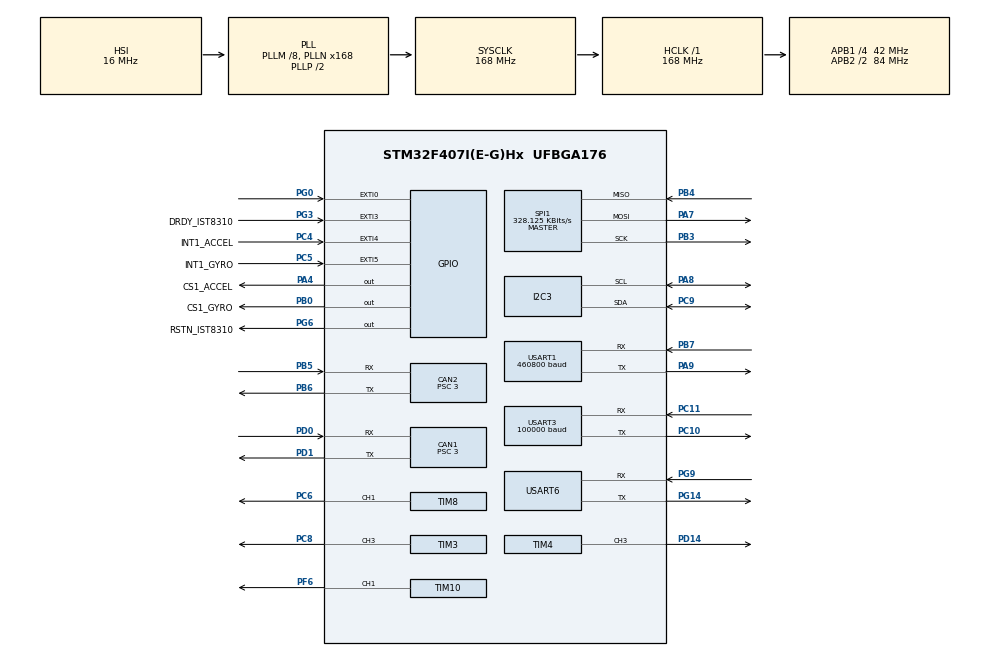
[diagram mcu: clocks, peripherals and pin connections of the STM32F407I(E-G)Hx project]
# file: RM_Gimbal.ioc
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CAN1.BS1=CAN_BS1_10TQ
CAN1.BS2=CAN_BS2_3TQ
CAN1.CalculateBaudRate=1000000
CAN1.CalculateTimeBit=1000
CAN1.CalculateTimeQuantum=71.42857142857143
CAN1.Prescaler=3
CAN2.BS1=CAN_BS1_10TQ
CAN2.BS2=CAN_BS2_3TQ
CAN2.CalculateBaudRate=1000000
CAN2.CalculateTimeBit=1000
CAN2.CalculateTimeQuantum=71.42857142857143
CAN2.Prescaler=3
Dma.Request0=USART3_RX
Dma.Request1=USART1_TX
Dma.Request2=SPI1_RX
Dma.Request3=SPI1_TX
Dma.Request4=USART6_TX
Dma.Request5=USART1_RX
Dma.Request6=USART6_RX
Dma.SPI1_RX.2.Direction=DMA_PERIPH_TO_MEMORY
Dma.SPI1_RX.2.FIFOMode=DMA_FIFOMODE_DISABLE
Dma.SPI1_RX.2.Instance=DMA2_Stream2
Dma.SPI1_RX.2.MemDataAlignment=DMA_MDATAALIGN_BYTE
Dma.SPI1_RX.2.MemInc=DMA_MINC_ENABLE
Dma.SPI1_RX.2.Mode=DMA_NORMAL
Dma.SPI1_RX.2.PeriphDataAlignment=DMA_PDATAALIGN_BYTE
Dma.SPI1_RX.2.PeriphInc=DMA_PINC_DISABLE
Dma.SPI1_RX.2.Priority=DMA_PRIORITY_VERY_HIGH
Dma.SPI1_TX.3.Direction=DMA_MEMORY_TO_PERIPH
Dma.SPI1_TX.3.FIFOMode=DMA_FIFOMODE_DISABLE
Dma.SPI1_TX.3.Instance=DMA2_Stream3
Dma.SPI1_TX.3.MemDataAlignment=DMA_MDATAALIGN_BYTE
Dma.SPI1_TX.3.MemInc=DMA_MINC_ENABLE
Dma.SPI1_TX.3.Mode=DMA_NORMAL
Dma.SPI1_TX.3.PeriphDataAlignment=DMA_PDATAALIGN_BYTE
Dma.SPI1_TX.3.PeriphInc=DMA_PINC_DISABLE
Dma.SPI1_TX.3.Priority=DMA_PRIORITY_HIGH
Dma.USART1_RX.5.Direction=DMA_PERIPH_TO_MEMORY
Dma.USART1_RX.5.FIFOMode=DMA_FIFOMODE_DISABLE
Dma.USART1_RX.5.Instance=DMA2_Stream5
Dma.USART1_RX.5.MemDataAlignment=DMA_MDATAALIGN_BYTE
Dma.USART1_RX.5.MemInc=DMA_MINC_ENABLE
Dma.USART1_RX.5.Mode=DMA_CIRCULAR
Dma.USART1_RX.5.PeriphDataAlignment=DMA_PDATAALIGN_BYTE
Dma.USART1_RX.5.PeriphInc=DMA_PINC_DISABLE
Dma.USART1_RX.5.Priority=DMA_PRIORITY_VERY_HIGH
Dma.USART1_TX.1.Direction=DMA_MEMORY_TO_PERIPH
Dma.USART1_TX.1.FIFOMode=DMA_FIFOMODE_DISABLE
Dma.USART1_TX.1.Instance=DMA2_Stream7
Dma.USART1_TX.1.MemDataAlignment=DMA_MDATAALIGN_BYTE
Dma.USART1_TX.1.MemInc=DMA_MINC_ENABLE
Dma.USART1_TX.1.Mode=DMA_NORMAL
Dma.USART1_TX.1.PeriphDataAlignment=DMA_PDATAALIGN_BYTE
Dma.USART1_TX.1.PeriphInc=DMA_PINC_DISABLE
Dma.USART1_TX.1.Priority=DMA_PRIORITY_VERY_HIGH
Dma.USART3_RX.0.Direction=DMA_PERIPH_TO_MEMORY
Dma.USART3_RX.0.FIFOMode=DMA_FIFOMODE_DISABLE
Dma.USART3_RX.0.Instance=DMA1_Stream1
Dma.USART3_RX.0.MemDataAlignment=DMA_MDATAALIGN_BYTE
Dma.USART3_RX.0.MemInc=DMA_MINC_ENABLE
Dma.USART3_RX.0.Mode=DMA_CIRCULAR
Dma.USART3_RX.0.PeriphDataAlignment=DMA_PDATAALIGN_BYTE
Dma.USART3_RX.0.PeriphInc=DMA_PINC_DISABLE
Dma.USART3_RX.0.Priority=DMA_PRIORITY_VERY_HIGH
Dma.USART6_RX.6.Direction=DMA_PERIPH_TO_MEMORY
Dma.USART6_RX.6.FIFOMode=DMA_FIFOMODE_DISABLE
Dma.USART6_RX.6.Instance=DMA2_Stream1
Dma.USART6_RX.6.MemDataAlignment=DMA_MDATAALIGN_BYTE
Dma.USART6_RX.6.MemInc=DMA_MINC_ENABLE
Dma.USART6_RX.6.Mode=DMA_NORMAL
Dma.USART6_RX.6.PeriphDataAlignment=DMA_PDATAALIGN_BYTE
Dma.USART6_RX.6.PeriphInc=DMA_PINC_DISABLE
Dma.USART6_RX.6.Priority=DMA_PRIORITY_VERY_HIGH
Dma.USART6_TX.4.Direction=DMA_MEMORY_TO_PERIPH
Dma.USART6_TX.4.FIFOMode=DMA_FIFOMODE_DISABLE
Dma.USART6_TX.4.Instance=DMA2_Stream6
Dma.USART6_TX.4.MemDataAlignment=DMA_MDATAALIGN_BYTE
Dma.USART6_TX.4.MemInc=DMA_MINC_ENABLE
Dma.USART6_TX.4.Mode=DMA_NORMAL
Dma.USART6_TX.4.PeriphDataAlignment=DMA_PDATAALIGN_BYTE
Dma.USART6_TX.4.PeriphInc=DMA_PINC_DISABLE
Dma.USART6_TX.4.Priority=DMA_PRIORITY_VERY_HIGH
FREERTOS.INCLUDE_eTaskGetState=1
FREERTOS.INCLUDE_pcTaskGetTaskName=1
FREERTOS.INCLUDE_uxTaskGetStackHighWaterMark=1
FREERTOS.INCLUDE_vTaskCleanUpResources=1
FREERTOS.INCLUDE_vTaskDelayUntil=1
FREERTOS.INCLUDE_xQueueGetMutexHolder=1
FREERTOS.INCLUDE_xSemaphoreGetMutexHolder=1
FREERTOS.INCLUDE_xTaskAbortDelay=1
FREERTOS.INCLUDE_xTaskGetCurrentTaskHandle=1
FREERTOS.INCLUDE_xTaskGetHandle=1
FREERTOS.Tasks01=test,0,128,test_task,As weak,NULL,Dynamic,NULL,NULL;gimbalTask,2,512,gimbal_task,As weak,NULL,Dynamic,NULL,NULL;imuTask,3,1024,ins_task,As weak,NULL,Dynamic,NULL,NULL;VOFATask,0,128,VOFA_task,As weak,NULL,Dynamic,NULL,NULL;pcTask,0,256,pc_task,As weak,NULL,Dynamic,NULL,NULL
I2C3.I2C_Mode=I2C_Fast
Mcu.Family=STM32F4
Mcu.Name=STM32F407I(E-G)Hx
Mcu.Package=UFBGA176
NVIC.CAN1_RX0_IRQn=true\:5\:0\:false\:false\:true\:true\:true\:true\:true
NVIC.CAN2_RX0_IRQn=true\:5\:0\:false\:false\:true\:true\:true\:true\:true
NVIC.DMA1_Stream1_IRQn=true\:5\:0\:false\:false\:true\:true\:false\:true\:true
NVIC.DMA2_Stream1_IRQn=true\:5\:0\:false\:false\:true\:true\:false\:true\:true
NVIC.DMA2_Stream2_IRQn=true\:5\:0\:false\:false\:true\:false\:false\:true\:true
NVIC.DMA2_Stream3_IRQn=true\:5\:0\:false\:false\:true\:true\:false\:true\:true
NVIC.DMA2_Stream5_IRQn=true\:5\:0\:false\:false\:true\:true\:false\:true\:true
NVIC.DMA2_Stream6_IRQn=true\:5\:0\:false\:false\:true\:true\:false\:true\:true
NVIC.DMA2_Stream7_IRQn=true\:5\:0\:false\:false\:true\:true\:false\:true\:true
NVIC.EXTI0_IRQn=true\:5\:0\:false\:false\:true\:true\:true\:true\:true
NVIC.EXTI3_IRQn=true\:5\:0\:false\:false\:true\:true\:true\:true\:true
NVIC.EXTI4_IRQn=true\:5\:0\:false\:false\:true\:true\:true\:true\:true
NVIC.EXTI9_5_IRQn=true\:5\:0\:false\:false\:true\:true\:true\:true\:true
NVIC.PriorityGroup=NVIC_PRIORITYGROUP_4
NVIC.TIM7_IRQn=true\:15\:0\:false\:false\:true\:false\:false\:true\:true
NVIC.TimeBase=TIM7_IRQn
NVIC.TimeBaseIP=TIM7
NVIC.USART1_IRQn=true\:5\:0\:false\:false\:true\:true\:true\:true\:true
NVIC.USART3_IRQn=true\:5\:0\:false\:false\:true\:true\:true\:true\:true
NVIC.USART6_IRQn=true\:5\:0\:false\:false\:true\:true\:true\:true\:true
PA13.Mode=Serial_Wire
PA13.Signal=SYS_JTMS-SWDIO
PA14.Mode=Serial_Wire
PA14.Signal=SYS_JTCK-SWCLK
PA4.GPIO_Label=CS1_ACCEL
PA4.GPIO_PuPd=GPIO_PULLUP
PA4.GPIO_Speed=GPIO_SPEED_FREQ_HIGH
PA4.PinState=GPIO_PIN_SET
PA4.Signal=GPIO_Output
PA7.Mode=Full_Duplex_Master
PA7.Signal=SPI1_MOSI
PA8.Mode=I2C
PA8.Signal=I2C3_SCL
PA9.Mode=Asynchronous
PA9.Signal=USART1_TX
PB0.GPIO_Label=CS1_GYRO
PB0.GPIO_PuPd=GPIO_PULLUP
PB0.GPIO_Speed=GPIO_SPEED_FREQ_HIGH
PB0.PinState=GPIO_PIN_SET
PB0.Signal=GPIO_Output
PB3.Mode=Full_Duplex_Master
PB3.Signal=SPI1_SCK
PB4.Mode=Full_Duplex_Master
PB4.Signal=SPI1_MISO
PB5.Mode=CAN_Activate
PB5.Signal=CAN2_RX
PB6.Mode=CAN_Activate
PB6.Signal=CAN2_TX
PB7.Mode=Asynchronous
PB7.Signal=USART1_RX
PC10.Mode=Asynchronous
PC10.Signal=USART3_TX
PC11.Mode=Asynchronous
PC11.Signal=USART3_RX
PC4.GPIO_Label=INT1_ACCEL
PC4.GPIO_ModeDefaultEXTI=GPIO_MODE_IT_FALLING
PC4.GPIO_PuPd=GPIO_PULLUP
PC4.Signal=GPXTI4
PC5.GPIO_Label=INT1_GYRO
PC5.GPIO_ModeDefaultEXTI=GPIO_MODE_IT_FALLING
PC5.GPIO_PuPd=GPIO_PULLUP
PC5.Signal=GPXTI5
PC6.GPIO_PuPd=GPIO_PULLUP
PC6.GPIO_Speed=GPIO_SPEED_FREQ_HIGH
PC6.Signal=S_TIM8_CH1
PC8.GPIO_PuPd=GPIO_PULLUP
PC8.GPIO_Speed=GPIO_SPEED_FREQ_HIGH
PC8.Signal=S_TIM3_CH3
PC9.Mode=I2C
PC9.Signal=I2C3_SDA
PD0.Mode=CAN_Activate
PD0.Signal=CAN1_RX
PD1.Mode=CAN_Activate
PD1.Signal=CAN1_TX
PD14.GPIO_Speed=GPIO_SPEED_FREQ_HIGH
PD14.Signal=S_TIM4_CH3
PF6.GPIO_PuPd=GPIO_PULLUP
PF6.GPIO_Speed=GPIO_SPEED_FREQ_HIGH
PF6.Signal=S_TIM10_CH1
PG0.GPIO_ModeDefaultEXTI=GPIO_MODE_IT_FALLING
PG0.GPIO_PuPd=GPIO_PULLUP
PG0.Signal=GPXTI0
PG14.Mode=Asynchronous
PG14.Signal=USART6_TX
PG3.GPIO_Label=DRDY_IST8310
PG3.GPIO_ModeDefaultEXTI=GPIO_MODE_IT_FALLING
PG3.GPIO_PuPd=GPIO_PULLUP
PG3.Signal=GPXTI3
PG6.GPIO_Label=RSTN_IST8310
PG6.GPIO_PuPd=GPIO_PULLUP
PG6.GPIO_Speed=GPIO_SPEED_FREQ_MEDIUM
PG6.PinState=GPIO_PIN_SET
PG6.Signal=GPIO_Output
PG9.Mode=Asynchronous
PG9.Signal=USART6_RX
PH0-OSC_IN.Mode=HSE-External-Oscillator
PH0-OSC_IN.Signal=RCC_OSC_IN
PH1-OSC_OUT.Mode=HSE-External-Oscillator
PH1-OSC_OUT.Signal=RCC_OSC_OUT
ProjectManager.HeapSize=0x3000
ProjectManager.StackSize=0x3500
ProjectManager.TargetToolchain=MDK-ARM V5.32
RCC.48MHZClocksFreq_Value=84000000
RCC.AHBFreq_Value=168000000
RCC.APB1CLKDivider=RCC_HCLK_DIV4
RCC.APB1Freq_Value=42000000
RCC.APB1TimFreq_Value=84000000
RCC.APB2CLKDivider=RCC_HCLK_DIV2
RCC.APB2Freq_Value=84000000
RCC.APB2TimFreq_Value=168000000
RCC.CortexFreq_Value=168000000
RCC.HCLKFreq_Value=168000000
RCC.HSE_VALUE=25000000
RCC.HSI_VALUE=16000000
RCC.LSE_VALUE=32768
RCC.PLLM=8
RCC.PLLN=168
RCC.SYSCLKFreq_VALUE=168000000
RCC.SYSCLKSource=RCC_SYSCLKSOURCE_PLLCLK
RCC.VCOOutputFreq_Value=336000000
SH.S_TIM10_CH1.0=TIM10_CH1,PWM Generation1 CH1
SH.S_TIM3_CH3.0=TIM3_CH3,PWM Generation3 CH3
SH.S_TIM4_CH3.0=TIM4_CH3,PWM Generation3 CH3
SH.S_TIM8_CH1.0=TIM8_CH1,PWM Generation1 CH1
SPI1.BaudRatePrescaler=SPI_BAUDRATEPRESCALER_256
SPI1.CLKPhase=SPI_PHASE_2EDGE
SPI1.CalculateBaudRate=328.125 KBits/s
SPI1.Direction=SPI_DIRECTION_2LINES
SPI1.Mode=SPI_MODE_MASTER
SPI1.VirtualType=VM_MASTER
TIM10.Channel=TIM_CHANNEL_1
TIM10.Period=4999
TIM3.Channel-PWM\ Generation3\ CH3=TIM_CHANNEL_3
TIM3.Period=8399
TIM4.Channel-PWM\ Generation3\ CH3=TIM_CHANNEL_3
TIM4.Prescaler=167
TIM8.Channel-PWM\ Generation1\ CH1=TIM_CHANNEL_1
TIM8.Period=19999
TIM8.Prescaler=167
USART1.BaudRate=460800
USART1.VirtualMode=VM_ASYNC
USART3.BaudRate=100000
USART3.VirtualMode=VM_ASYNC
USART6.VirtualMode=VM_ASYNC
VP_FREERTOS_VS_CMSIS_V1.Mode=CMSIS_V1
VP_SYS_VS_tim7.Mode=TIM7
VP_TIM10_VS_ClockSourceINT.Mode=Enable_Timer
VP_TIM3_VS_ClockSourceINT.Mode=Internal
VP_TIM4_VS_ClockSourceINT.Mode=Internal
VP_TIM8_VS_ClockSourceINT.Mode=Internal
board=custom

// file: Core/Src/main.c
/* USER CODE BEGIN Header */
/**
  ******************************************************************************
  * @file           : main.c
  * @brief          : Main program body
  ******************************************************************************
  * @attention
  *
  * Copyright (c) 2023 STMicroelectronics.
  * All rights reserved.
  *
  * This software is licensed under terms that can be found in the LICENSE file
  * in the root directory of this software component.
  * If no LICENSE file comes with this software, it is provided AS-IS.
  *
  ******************************************************************************
  */
/* USER CODE END Header */
#include "main.h"
#include "cmsis_os.h"
#include "can.h"
#include "dma.h"
#include "i2c.h"
#include "spi.h"
#include "tim.h"
#include "usart.h"
#include "gpio.h"

/* USER CODE BEGIN Includes */
#include "remote_control.h"
#include "bsp_can.h"
#include "bsp_delay.h"
#include "buzzer.h"
#include "bsp_usart.h"
#include "bsp_dwt.h"
#include "BMI088driver.h"
#include "can_communicate.h"
#include "CyberGear.h"
/* USER CODE END Includes */

void SystemClock_Config(void);
void MX_FREERTOS_Init(void);

int main(void)
{

  /* MCU Configuration--------------------------------------------------------*/

  /* Reset of all peripherals, Initializes the Flash interface and the Systick. */
  HAL_Init();

  /* Configure the system clock */
  SystemClock_Config();

  /* Initialize all configured peripherals */
  MX_GPIO_Init();
  MX_DMA_Init();
  MX_CAN1_Init();
  MX_CAN2_Init();
  MX_USART1_UART_Init();
  MX_USART3_UART_Init();
  MX_TIM10_Init();
  MX_TIM4_Init();
  MX_I2C3_Init();
  MX_SPI1_Init();
  MX_TIM3_Init();
  MX_TIM8_Init();
  MX_USART6_UART_Init();
  /* USER CODE BEGIN 2 */
		remote_control_init();
		can_filter_init();
		delay_init();
		buzzer_int();
    DWT_Init(168);

  /* USER CODE END 2 */

  /* Call init function for freertos objects (in freertos.c) */
  MX_FREERTOS_Init();

  /* Start scheduler */
  osKernelStart();

  /* We should never get here as control is now taken by the scheduler */
  /* Infinite loop */
  while (1)
  {

  }
}

void SystemClock_Config(void)
{
  RCC_OscInitTypeDef RCC_OscInitStruct = {0};
  RCC_ClkInitTypeDef RCC_ClkInitStruct = {0};

  /** Configure the main internal regulator output voltage
  */
  __HAL_RCC_PWR_CLK_ENABLE();
  __HAL_PWR_VOLTAGESCALING_CONFIG(PWR_REGULATOR_VOLTAGE_SCALE1);

  /** Initializes the RCC Oscillators according to the specified parameters
  * in the RCC_OscInitTypeDef structure.
  */
  RCC_OscInitStruct.OscillatorType = RCC_OSCILLATORTYPE_HSI;
  RCC_OscInitStruct.HSIState = RCC_HSI_ON;
  RCC_OscInitStruct.HSICalibrationValue = RCC_HSICALIBRATION_DEFAULT;
  RCC_OscInitStruct.PLL.PLLState = RCC_PLL_ON;
  RCC_OscInitStruct.PLL.PLLSource = RCC_PLLSOURCE_HSI;
  RCC_OscInitStruct.PLL.PLLM = 8;
  RCC_OscInitStruct.PLL.PLLN = 168;
  RCC_OscInitStruct.PLL.PLLP = RCC_PLLP_DIV2;
  RCC_OscInitStruct.PLL.PLLQ = 4;
  if (HAL_RCC_OscConfig(&RCC_OscInitStruct) != HAL_OK)
  {
    Error_Handler();
  }

  /** Initializes the CPU, AHB and APB buses clocks
  */
  RCC_ClkInitStruct.ClockType = RCC_CLOCKTYPE_HCLK|RCC_CLOCKTYPE_SYSCLK
                              |RCC_CLOCKTYPE_PCLK1|RCC_CLOCKTYPE_PCLK2;
  RCC_ClkInitStruct.SYSCLKSource = RCC_SYSCLKSOURCE_PLLCLK;
  RCC_ClkInitStruct.AHBCLKDivider = RCC_SYSCLK_DIV1;
  RCC_ClkInitStruct.APB1CLKDivider = RCC_HCLK_DIV4;
  RCC_ClkInitStruct.APB2CLKDivider = RCC_HCLK_DIV2;

  if (HAL_RCC_ClockConfig(&RCC_ClkInitStruct, FLASH_LATENCY_5) != HAL_OK)
  {
    Error_Handler();
  }
}

void HAL_TIM_PeriodElapsedCallback(TIM_HandleTypeDef *htim)
{
  if (htim->Instance == TIM7) {
    HAL_IncTick();
  }
}

void Error_Handler(void)
{
  __disable_irq();
  while (1)
  {
  }
}

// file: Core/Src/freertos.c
/* USER CODE BEGIN Header */
/**
  ******************************************************************************
  * File Name          : freertos.c
  * Description        : Code for freertos applications
  ******************************************************************************
  * @attention
  *
  * Copyright (c) 2023 STMicroelectronics.
  * All rights reserved.
  *
  * This software is licensed under terms that can be found in the LICENSE file
  * in the root directory of this software component.
  * If no LICENSE file comes with this software, it is provided AS-IS.
  *
  ******************************************************************************
  */
/* USER CODE END Header */

#include "FreeRTOS.h"
#include "task.h"
#include "main.h"
#include "cmsis_os.h"

/* USER CODE BEGIN Includes */
#include "motor_task.h"
#include "usart_communicate.h"
/* USER CODE END Includes */

osThreadId testHandle;
//osThreadId gimbalTaskHandle;
osThreadId imuTaskHandle;
//osThreadId VOFATaskHandle;
//osThreadId pcTaskHandle;

/* USER CODE BEGIN FunctionPrototypes */
osThreadId motorTaskHandle;
osThreadId uasrtcommunicateTaskHandle;
/* USER CODE END FunctionPrototypes */

void test_task(void const * argument);
void gimbal_task(void const * argument);
void ins_task(void const * argument);
void VOFA_task(void const * argument);
void pc_task(void const * argument);

void MX_FREERTOS_Init(void); /* (MISRA C 2004 rule 8.1) */

/* GetIdleTaskMemory prototype (linked to static allocation support) */
void vApplicationGetIdleTaskMemory( StaticTask_t **ppxIdleTaskTCBBuffer, StackType_t **ppxIdleTaskStackBuffer, uint32_t *pulIdleTaskStackSize );

/* USER CODE BEGIN GET_IDLE_TASK_MEMORY */
static StaticTask_t xIdleTaskTCBBuffer;
static StackType_t xIdleStack[configMINIMAL_STACK_SIZE];

void vApplicationGetIdleTaskMemory( StaticTask_t **ppxIdleTaskTCBBuffer, StackType_t **ppxIdleTaskStackBuffer, uint32_t *pulIdleTaskStackSize )
{
  *ppxIdleTaskTCBBuffer = &xIdleTaskTCBBuffer;
  *ppxIdleTaskStackBuffer = &xIdleStack[0];
  *pulIdleTaskStackSize = configMINIMAL_STACK_SIZE;
  /* place for user code */
}
/* USER CODE END GET_IDLE_TASK_MEMORY */

void MX_FREERTOS_Init(void) {

  /* Create the thread(s) */
  /* definition and creation of test */
//  osThreadDef(test, test_task, osPriorityHigh, 0, 128);
//  testHandle = osThreadCreate(osThread(test), NULL);

  /* definition and creation of gimbalTask */
//  osThreadDef(gimbalTask, gimbal_task, osPriorityHigh, 0, 512);
//  gimbalTaskHandle = osThreadCreate(osThread(gimbalTask), NULL);

  /* definition and creation of imuTask */
  osThreadDef(imuTask, ins_task, osPriorityNormal, 0, 1024);
  imuTaskHandle = osThreadCreate(osThread(imuTask), NULL);

  /* definition and creation of VOFATask */
//  osThreadDef(VOFATask, VOFA_task, osPriorityNormal, 0, 128);
//  VOFATaskHandle = osThreadCreate(osThread(VOFATask), NULL);

  /* definition and creation of pcTask */
//  osThreadDef(pcTask, pc_task, osPriorityNormal, 0, 256);
//  pcTaskHandle = osThreadCreate(osThread(pcTask), NULL);

  /* USER CODE BEGIN RTOS_THREADS */
  /* add threads, ... */
//	osThreadDef(motorTask, motor_task, osPriorityNormal, 0, 1024);
//  motorTaskHandle = osThreadCreate(osThread(motorTask), NULL);

	osThreadDef(uasrtcommunicateTask, usart_communicate_task, osPriorityNormal, 0, 256);
  uasrtcommunicateTaskHandle = osThreadCreate(osThread(uasrtcommunicateTask), NULL);

  /* USER CODE END RTOS_THREADS */

}

__weak void test_task(void const * argument)
{
  /* USER CODE BEGIN test_task */
  /* Infinite loop */
  for(;;)
  {

    osDelay(100);
  }
  /* USER CODE END test_task */
}

__weak void gimbal_task(void const * argument)
{
  for(;;)
  {
    osDelay(1);
  }
}

__weak void ins_task(void const * argument)
{
  for(;;)
  {
    osDelay(1);
  }
}

__weak void VOFA_task(void const * argument)
{
  for(;;)
  {
    osDelay(1);
  }
}

__weak void pc_task(void const * argument)
{
  for(;;)
  {
    osDelay(1);
  }
}
